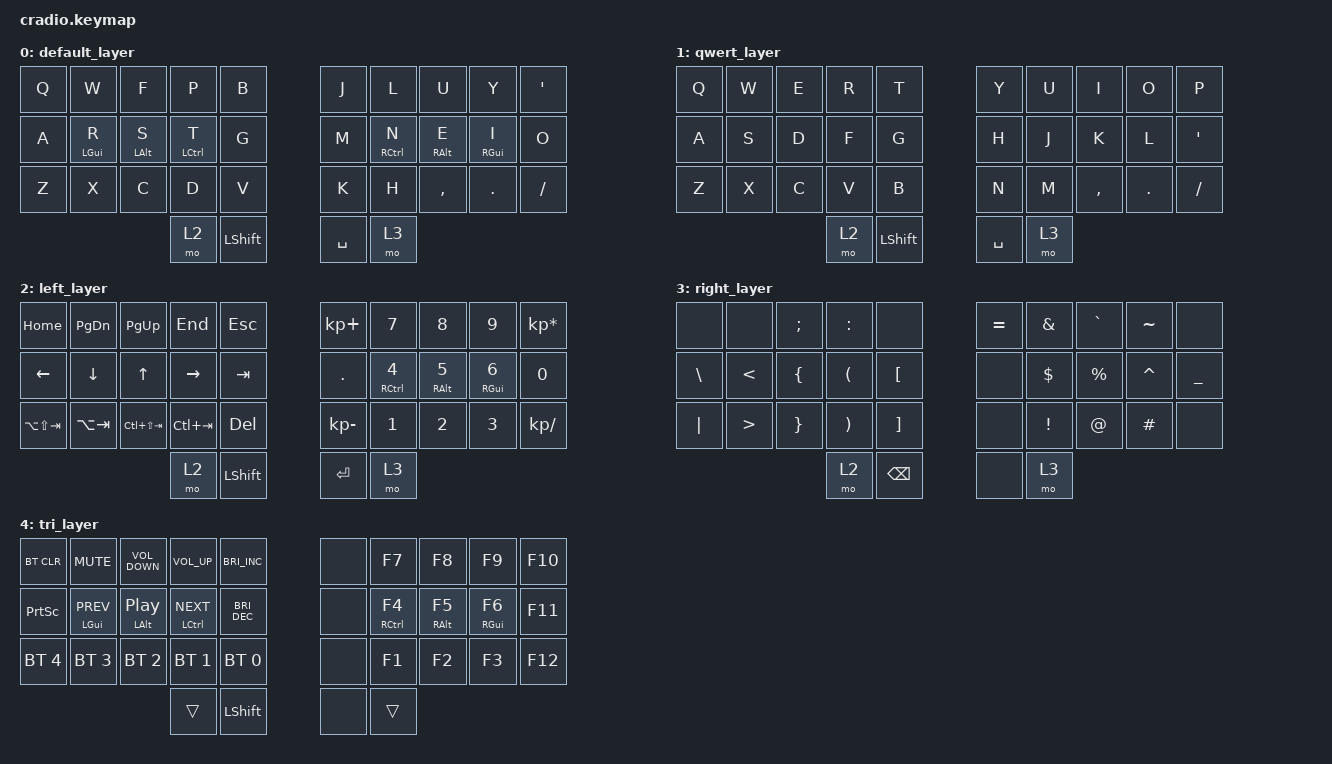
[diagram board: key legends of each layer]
/*
 * Copyright (c) 2020 The ZMK Contributors
 *
 * SPDX-License-Identifier: MIT
 */

#include <behaviors.dtsi>
#include <dt-bindings/zmk/keys.h>
#include <dt-bindings/zmk/bt.h>

/ { 
	behaviors {
		hm: homerow_mods {
			compatible = "zmk,behavior-hold-tap";
			label = "HOMEROW_MODS";
			#binding-cells = <2>;
			tapping-term-ms = <300>;
			quick-tap-ms = <0>;
			flavor = "tap-preferred";
			bindings = <&kp>, <&kp>;
		};
	};
	
	conditional_layers {
		compatible = "zmk,conditional-layers";
		tri_layer {
			if-layers = <2 3>;
			then-layer = <4>;
		};
	};
	
	keymap {
		compatible = "zmk,keymap";
		
		default_layer {
			bindings = <
				&kp Q 		&kp W 		&kp F 		&kp P 		&kp B 			&kp J 		&kp L 		&kp U 		&kp Y 		&kp QUOT 
				&kp A 		&hm LGUI R 	&hm LALT S 	&hm LCTRL T 	&kp G 			&kp M 		&hm RCTRL N 	&hm RALT E 	&hm RGUI I 	&kp O 
				&kp Z 		&kp X 		&kp C 		&kp D 		&kp V 			&kp K 		&kp H 		&kp CMMA 	&kp DOT 	&kp SLASH 
										&mo 2 		&kp LEFT_SHIFT 		&kp SPACE 	&mo 3 
			>;
		};
		
		qwert_layer {
			bindings = <
				&kp Q 		&kp W 		&kp E 		&kp R 		&kp T			&kp Y 		&kp U 		&kp I 		&kp O 		&kp P 
				&kp A 		&kp S 		&kp D 		&kp F 		&kp G 			&kp H 		&kp J 		&kp K 		&kp L 		&kp QUOT 
				&kp Z 		&kp X 		&kp C 		&kp V 		&kp B 			&kp N 		&kp M 		&kp CMMA 	&kp DOT 	&kp SLASH 
										&mo 2 		&kp LEFT_SHIFT 		&kp SPACE 	&mo 3 
			>;
		};
		
		left_layer {
			bindings = <
				&kp HOME 	&kp PAGE_DOWN 	&kp PAGE_UP 	&kp END 	&kp ESCAPE 		&kp KP_PLUS 	&kp N7 		&kp N8 		&kp N9 		&kp KP_MULTIPLY 
				&kp LEFT_ARROW 	&kp DOWN_ARROW 	&kp UP_ARROW 	&kp RIGHT_ARROW &kp TAB 		&kp DOT 	&hm RCTRL N4 	&hm RALT N5 	&hm RGUI N6 	&kp N0 
				&kp LA(LS(TAB)) &kp LA(TAB) 	&kp LC(LS(TAB)) &kp LC(TAB)	&kp DELETE 		&kp KP_MINUS 	&kp N1 		&kp N2 		&kp N3 		&kp KP_DIVIDE 
										&mo 2 		&kp LEFT_SHIFT 		&kp RETURN 	&mo 3 
			>;
		};
		
		right_layer {
			bindings = <
				&none 		&none 		&kp SEMICOLON 	&kp COLON 	&none 			&kp EQUAL 	&kp AMPS 	&kp GRAVE 	&kp TILDE 	&none 
				&kp BACKSLASH 	&kp LT 		&kp LBRC 	&kp LPAR 	&kp LBKT 		&none 		&kp DLLR 	&kp PRCNT 	&kp CARET 	&kp UNDER 
				&kp PIPE 	&kp GT 		&kp RBRC 	&kp RPAR 	&kp RBKT 		&none 		&kp EXCL 	&kp AT 		&kp HASH 	&none 
										&mo 2 		&kp BACKSPACE 		&none 		&mo 3 
			>;
		};	
		
		tri_layer {
			bindings = <
				&bt BT_CLR 	&kp C_MUTE 	&kp C_VOLUME_DOWN &kp C_VOLUME_UP &kp C_BRIGHTNESS_INC 	&none 		&kp F7 		&kp F8 		&kp F9 		&kp F10 
				&kp PSCRN 	&hm LGUI C_PREV &hm LALT C_PLAY_PAUSE &hm LCTRL C_NEXT &kp C_BRIGHTNESS_DEC &none 	&hm RCTRL F4 	&hm RALT F5 	&hm RGUI F6 	&kp F11 
				&bt BT_SEL 4 	&bt BT_SEL 3 	&bt BT_SEL 2 	&bt BT_SEL 1 	&bt BT_SEL 0 		&none 		&kp F1 		&kp F2 		&kp F3 		&kp F12 
										&trans 		&kp LEFT_SHIFT 		&none 		&trans 
			>;
		};
	};
};
